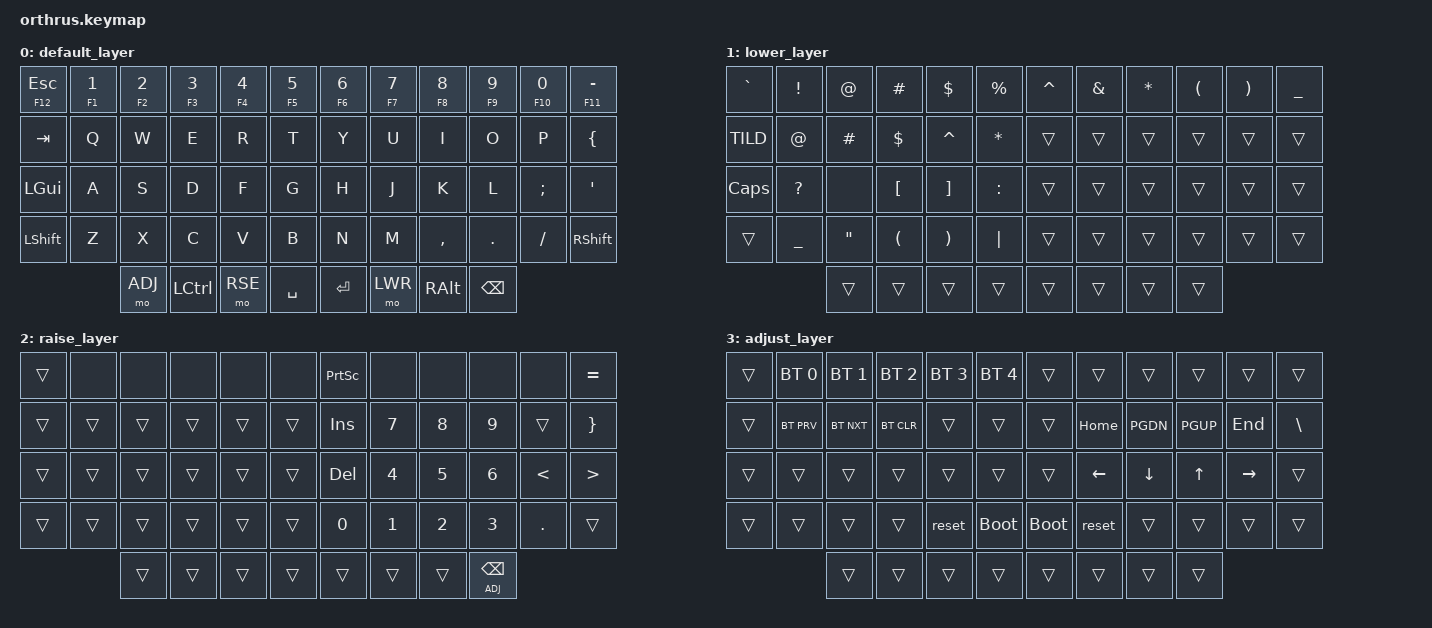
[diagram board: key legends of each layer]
/*
 * Copyright (c) 2020 The ZMK Contributors
 *
 * SPDX-License-Identifier: MIT
 */

#include <behaviors.dtsi>
#include <dt-bindings/zmk/keys.h>
#include <dt-bindings/zmk/bt.h>

&mt {
      flavor = "tap-preferred";
      tapping-term-ms = <400>;
      quick-tap-ms = <200>;
};

#define DFT 0
#define LWR 1
#define RSE 2
#define ADJ 3

/ {
        keymap {
                compatible = "zmk,keymap";

                default_layer {
                      bindings = <
    &mt F12 ESC &mt F1 N1 &mt F2 N2  &mt F3 N3 &mt F4 N4 &mt F5 N5     &mt F6 N6 &mt F7 N7 &mt F8 N8 &mt F9 N9 &mt F10 N0 &mt F11 MINUS
    &kp TAB     &kp Q     &kp W      &kp E     &kp R     &kp T         &kp Y     &kp U     &kp I     &kp O     &kp P      &kp LBRC
    &kp LGUI    &kp A     &kp S      &kp D     &kp F     &kp G         &kp H     &kp J     &kp K     &kp L     &kp SEMI   &kp SQT
    &kp LSHFT   &kp Z     &kp X      &kp C     &kp V     &kp B         &kp N     &kp M     &kp COMMA &kp DOT   &kp SLASH  &kp RSHFT
                          &mo ADJ    &kp LCTRL &mo RSE   &kp SPACE     &kp ENTER &mo LWR   &kp RALT  &kp BKSP
                       >;
                };

                lower_layer {
                      bindings = <
    &kp GRAVE &kp EXCL  &kp AT   &kp HASH &kp DLLR  &kp PRCNT    &kp CARET &kp AMPS &kp STAR &kp LPRN &kp RPRN &kp UNDER
    &kp TILD  &kp AT    &kp HASH &kp DLLR &kp CARET &kp STAR     &trans    &trans   &trans   &trans   &trans   &trans
    &kp CAPS  &kp QMARK &none    &kp LBKT &kp RBKT  &kp COLN     &trans    &trans   &trans   &trans   &trans   &trans
    &trans    &kp UNDER &kp DQT  &kp LPRN &kp RPRN  &kp PIPE     &trans    &trans   &trans   &trans   &trans   &trans
                        &trans   &trans   &trans    &trans       &trans    &trans   &trans   &trans 
                       >;
                };

               raise_layer {
                     bindings = <
    &trans &none  &none  &none  &none  &none      &kp PSCRN &none  &none  &none  &none   &kp EQL
    &trans &trans &trans &trans &trans &trans     &kp INS   &kp N7 &kp N8 &kp N9 &trans  &kp RBRC
    &trans &trans &trans &trans &trans &trans     &kp DEL   &kp N4 &kp N5 &kp N6 &kp LT  &kp GT
    &trans &trans &trans &trans &trans &trans     &kp N0    &kp N1 &kp N2 &kp N3 &kp DOT &trans
                  &trans &trans &trans &trans     &trans    &trans &trans &lt ADJ BKSP
                      >;
                };

               adjust_layer {
                     bindings = <
    &trans &bt BT_SEL 0 &bt BT_SEL 1 &bt BT_SEL 2 &bt BT_SEL 3 &bt BT_SEL 4     &trans      &trans   &trans   &trans   &trans    &trans
    &trans &bt BT_PRV   &bt BT_NXT   &bt BT_CLR   &trans       &trans           &trans      &kp HOME &kp PGDN &kp PGUP &kp END   &kp BSLH
    &trans &trans       &trans       &trans       &trans       &trans           &trans      &kp LEFT &kp DOWN &kp UP   &kp RIGHT &trans
    &trans &trans       &trans       &trans       &reset       &bootloader      &bootloader &reset   &trans   &trans   &trans    &trans
                        &trans       &trans       &trans       &trans           &trans      &trans   &trans   &trans
                      >;
                };
        };
};
